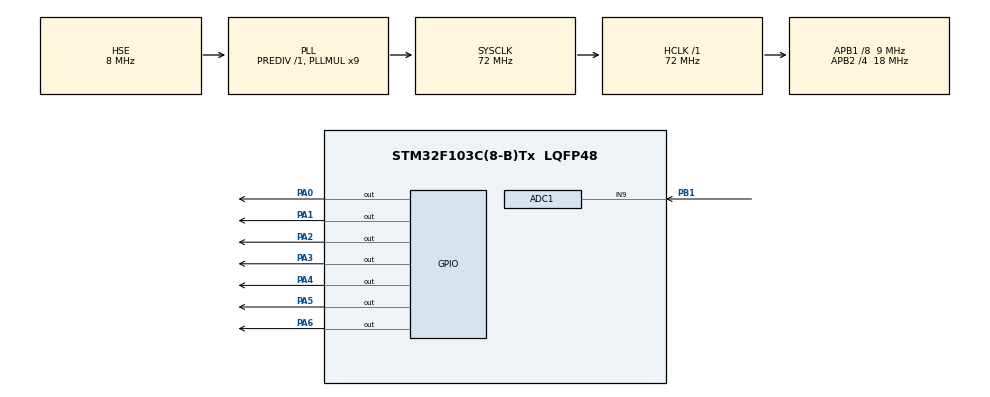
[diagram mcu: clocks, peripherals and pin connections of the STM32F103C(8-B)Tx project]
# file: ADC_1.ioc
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ADC1.Channel-3\#ChannelRegularConversion=ADC_CHANNEL_9
ADC1.NbrOfConversionFlag=1
ADC1.Rank-3\#ChannelRegularConversion=1
ADC1.SamplingTime-3\#ChannelRegularConversion=ADC_SAMPLETIME_55CYCLES_5
ADC1.master=1
Mcu.Family=STM32F1
Mcu.Name=STM32F103C(8-B)Tx
Mcu.Package=LQFP48
NVIC.PriorityGroup=NVIC_PRIORITYGROUP_4
PA0-WKUP.Signal=GPIO_Output
PA1.Signal=GPIO_Output
PA13.Mode=Serial_Wire
PA13.Signal=SYS_JTMS-SWDIO
PA14.Mode=Serial_Wire
PA14.Signal=SYS_JTCK-SWCLK
PA2.Signal=GPIO_Output
PA3.Signal=GPIO_Output
PA4.Signal=GPIO_Output
PA5.Signal=GPIO_Output
PA6.Signal=GPIO_Output
PB1.Signal=ADCx_IN9
PD0-OSC_IN.Mode=HSE-External-Oscillator
PD0-OSC_IN.Signal=RCC_OSC_IN
PD1-OSC_OUT.Mode=HSE-External-Oscillator
PD1-OSC_OUT.Signal=RCC_OSC_OUT
ProjectManager.HeapSize=0x200
ProjectManager.StackSize=0x400
ProjectManager.TargetToolchain=STM32CubeIDE
RCC.AHBFreq_Value=72000000
RCC.APB1CLKDivider=RCC_HCLK_DIV8
RCC.APB1Freq_Value=9000000
RCC.APB1TimFreq_Value=18000000
RCC.APB2CLKDivider=RCC_HCLK_DIV4
RCC.APB2Freq_Value=18000000
RCC.APB2TimFreq_Value=36000000
RCC.EnbaleCSS=true
RCC.HCLKFreq_Value=72000000
RCC.PLLMUL=RCC_PLL_MUL9
RCC.PLLSourceVirtual=RCC_PLLSOURCE_HSE
RCC.SYSCLKFreq_VALUE=72000000
RCC.SYSCLKSource=RCC_SYSCLKSOURCE_PLLCLK
RCC.USBFreq_Value=72000000
SH.ADCx_IN9.0=ADC1_IN9,IN9
board=custom

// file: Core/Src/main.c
/* USER CODE BEGIN Header */
/**
  ******************************************************************************
  * @file           : main.c
  * @brief          : Main program body
  ******************************************************************************
  * @attention
  *
  * Copyright (c) 2022 STMicroelectronics.
  * All rights reserved.
  *
  * This software is licensed under terms that can be found in the LICENSE file
  * in the root directory of this software component.
  * If no LICENSE file comes with this software, it is provided AS-IS.
  *
  ******************************************************************************
  */
/* USER CODE END Header */
#include "main.h"

/* USER CODE BEGIN Includes */
#define MINIMO 409
/* USER CODE END Includes */

 ADC_HandleTypeDef hadc1;

void SystemClock_Config(void);
static void MX_GPIO_Init(void);
static void MX_ADC1_Init(void);

int main(void)
{
	uint16_t adcSample;

  /* MCU Configuration--------------------------------------------------------*/

  /* Reset of all peripherals, Initializes the Flash interface and the Systick. */
  HAL_Init();

  /* Configure the system clock */
  SystemClock_Config();

  /* Initialize all configured peripherals */
  MX_GPIO_Init();
  MX_ADC1_Init();

  /* Infinite loop */
  while (1)
  {

    /* USER CODE BEGIN 3 */
	  HAL_ADC_Start(&hadc1);
	  HAL_ADC_PollForConversion(&hadc1,100);//espera 100us maximo
	  adcSample = HAL_ADC_GetValue(&hadc1);

	  if(adcSample < MINIMO){
		  GPIOA->ODR = 0x003F; //Displaying 0
	  }
	  else if(adcSample < 2*MINIMO){
		  GPIOA->ODR = 0x0006; //Displaying 1
	  }
	  else if(adcSample < 3*MINIMO){
		  GPIOA->ODR = 0x005B; //Displaying 2
	  }
	  else if(adcSample < 4*MINIMO){
		  GPIOA->ODR = 0x004F; //Displaying 3
	  }
	  else if(adcSample < 5*MINIMO){
		  GPIOA->ODR = 0x0066; //Displaying 4
	  }
	  else if(adcSample < 6*MINIMO){
		  GPIOA->ODR = 0x006D; //Displaying 5
	  }
	  else if(adcSample < 7*MINIMO){
		  GPIOA->ODR = 0x007D; //Displaying 6
	  }
	  else if(adcSample < 8*MINIMO){
		  GPIOA->ODR = 0x0007; //Displaying 7
	  }
	  else if(adcSample < 9*MINIMO){
		  GPIOA->ODR = 0x007F; //Displaying 8
	  }
	  else
	  {
		  GPIOA->ODR = 0x006F; //Displaying 9
	  }
  }
  /* USER CODE END 3 */
}

void SystemClock_Config(void)
{
  RCC_OscInitTypeDef RCC_OscInitStruct = {0};
  RCC_ClkInitTypeDef RCC_ClkInitStruct = {0};
  RCC_PeriphCLKInitTypeDef PeriphClkInit = {0};

  /** Initializes the RCC Oscillators according to the specified parameters
  * in the RCC_OscInitTypeDef structure.
  */
  RCC_OscInitStruct.OscillatorType = RCC_OSCILLATORTYPE_HSE;
  RCC_OscInitStruct.HSEState = RCC_HSE_ON;
  RCC_OscInitStruct.HSEPredivValue = RCC_HSE_PREDIV_DIV1;
  RCC_OscInitStruct.HSIState = RCC_HSI_ON;
  RCC_OscInitStruct.PLL.PLLState = RCC_PLL_ON;
  RCC_OscInitStruct.PLL.PLLSource = RCC_PLLSOURCE_HSE;
  RCC_OscInitStruct.PLL.PLLMUL = RCC_PLL_MUL9;
  if (HAL_RCC_OscConfig(&RCC_OscInitStruct) != HAL_OK)
  {
    Error_Handler();
  }

  /** Initializes the CPU, AHB and APB buses clocks
  */
  RCC_ClkInitStruct.ClockType = RCC_CLOCKTYPE_HCLK|RCC_CLOCKTYPE_SYSCLK
                              |RCC_CLOCKTYPE_PCLK1|RCC_CLOCKTYPE_PCLK2;
  RCC_ClkInitStruct.SYSCLKSource = RCC_SYSCLKSOURCE_PLLCLK;
  RCC_ClkInitStruct.AHBCLKDivider = RCC_SYSCLK_DIV1;
  RCC_ClkInitStruct.APB1CLKDivider = RCC_HCLK_DIV8;
  RCC_ClkInitStruct.APB2CLKDivider = RCC_HCLK_DIV4;

  if (HAL_RCC_ClockConfig(&RCC_ClkInitStruct, FLASH_LATENCY_2) != HAL_OK)
  {
    Error_Handler();
  }
  PeriphClkInit.PeriphClockSelection = RCC_PERIPHCLK_ADC;
  PeriphClkInit.AdcClockSelection = RCC_ADCPCLK2_DIV2;
  if (HAL_RCCEx_PeriphCLKConfig(&PeriphClkInit) != HAL_OK)
  {
    Error_Handler();
  }

  /** Enables the Clock Security System
  */
  HAL_RCC_EnableCSS();
}

static void MX_ADC1_Init(void)
{

  ADC_ChannelConfTypeDef sConfig = {0};

  /** Common config
  */
  hadc1.Instance = ADC1;
  hadc1.Init.ScanConvMode = ADC_SCAN_DISABLE;
  hadc1.Init.ContinuousConvMode = DISABLE;
  hadc1.Init.DiscontinuousConvMode = DISABLE;
  hadc1.Init.ExternalTrigConv = ADC_SOFTWARE_START;
  hadc1.Init.DataAlign = ADC_DATAALIGN_RIGHT;
  hadc1.Init.NbrOfConversion = 1;
  if (HAL_ADC_Init(&hadc1) != HAL_OK)
  {
    Error_Handler();
  }

  /** Configure Regular Channel
  */
  sConfig.Channel = ADC_CHANNEL_9;
  sConfig.Rank = ADC_REGULAR_RANK_1;
  sConfig.SamplingTime = ADC_SAMPLETIME_55CYCLES_5;
  if (HAL_ADC_ConfigChannel(&hadc1, &sConfig) != HAL_OK)
  {
    Error_Handler();
  }

}

static void MX_GPIO_Init(void)
{
  GPIO_InitTypeDef GPIO_InitStruct = {0};

  /* GPIO Ports Clock Enable */
  __HAL_RCC_GPIOD_CLK_ENABLE();
  __HAL_RCC_GPIOA_CLK_ENABLE();
  __HAL_RCC_GPIOB_CLK_ENABLE();

  /*Configure GPIO pin Output Level */
  HAL_GPIO_WritePin(GPIOA, GPIO_PIN_0|GPIO_PIN_1|GPIO_PIN_2|GPIO_PIN_3
                          |GPIO_PIN_4|GPIO_PIN_5|GPIO_PIN_6, GPIO_PIN_RESET);

  /*Configure GPIO pins : PA0 PA1 PA2 PA3
                           PA4 PA5 PA6 */
  GPIO_InitStruct.Pin = GPIO_PIN_0|GPIO_PIN_1|GPIO_PIN_2|GPIO_PIN_3
                          |GPIO_PIN_4|GPIO_PIN_5|GPIO_PIN_6;
  GPIO_InitStruct.Mode = GPIO_MODE_OUTPUT_PP;
  GPIO_InitStruct.Pull = GPIO_NOPULL;
  GPIO_InitStruct.Speed = GPIO_SPEED_FREQ_LOW;
  HAL_GPIO_Init(GPIOA, &GPIO_InitStruct);

}

void Error_Handler(void)
{
  __disable_irq();
  while (1)
  {
  }
}
